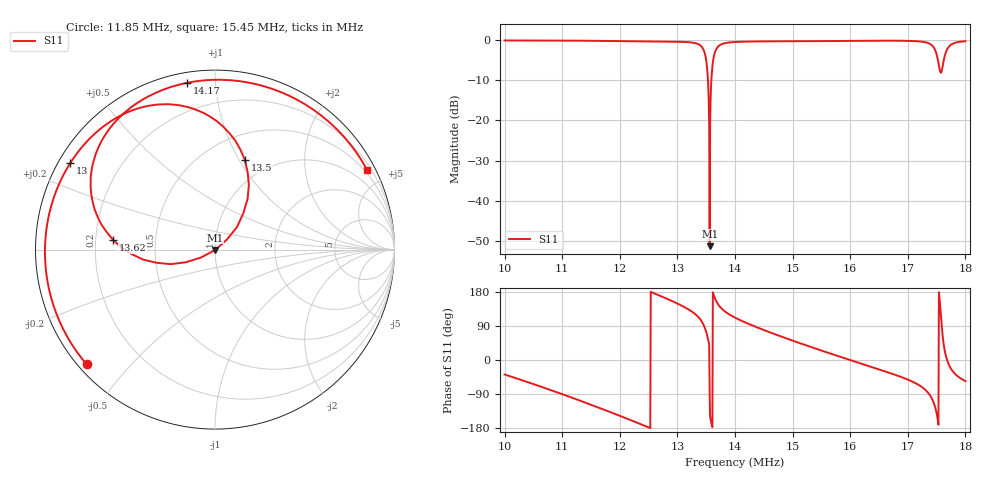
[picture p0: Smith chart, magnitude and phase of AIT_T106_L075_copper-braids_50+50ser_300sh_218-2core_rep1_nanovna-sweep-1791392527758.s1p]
! NanoVNA Web complex sweep
! Processing: unaveraged complex samples; linear segment spacing; no smoothing
# Hz S RI R 50
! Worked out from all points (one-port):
!   1010 points, 10 MHz to 18 MHz, reference 50 ohm
!   lowest |S11| = -51.2 dB at 13.56 MHz (marker M1), VSWR 1.01, Z = 50 - j0.276 ohm
!   |S11| at or under -10 dB: 13.53011 MHz to 13.58998 MHz (59.88 kHz wide, 0.442 % of centre)
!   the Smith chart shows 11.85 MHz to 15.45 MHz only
!   S11 on the Smith chart (normalised r, x): 11.85 MHz: 0.02, -0.38; 13 MHz: 0.03, +0.28; 13.5 MHz: 0.77, +1.06; 13.62 MHz: 0.28, +0.04; 14.17 MHz: 0.05, +0.84; 15.45 MHz: 0.39, +4.03
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1e7  0.7654 -0.6035
1.100698e7  -0.00889 -0.9717
1.184746e7  -0.7157 -0.6388
1.200604e7  -0.808 -0.5115
1.252142e7  -0.9476 -0.0126
1.299716e7  -0.8065 0.4819
1.300509e7  -0.8015 0.49
1.338568e7  -0.2875 0.8096
1.350462e7  0.1666 0.499
1.35284e7  0.1814 0.2814
1.356012e7  5.83e-05 -0.00276
1.359184e7  -0.3278 -0.0731
1.362355e7  -0.5666 0.0532
1.37742e7  -0.6211 0.624
1.400414e7  -0.342 0.8681
1.417065e7  -0.1564 0.929
1.50032e7  0.5999 0.7407
1.544722e7  0.8474 0.4438
1.600225e7  0.9615 -0.00428
1.700131e7  0.5964 -0.7574
1.724711e7  0.2974 -0.894
1.740569e7  -0.1218 -0.855
1.752462e7  -0.527 -0.1724
1.760391e7  0.1914 0.4241
1.765941e7  0.6757 0.1482
1.771492e7  0.7979 -0.1839
1.783385e7  0.7168 -0.5727
1.800036e7  0.5379 -0.7869
